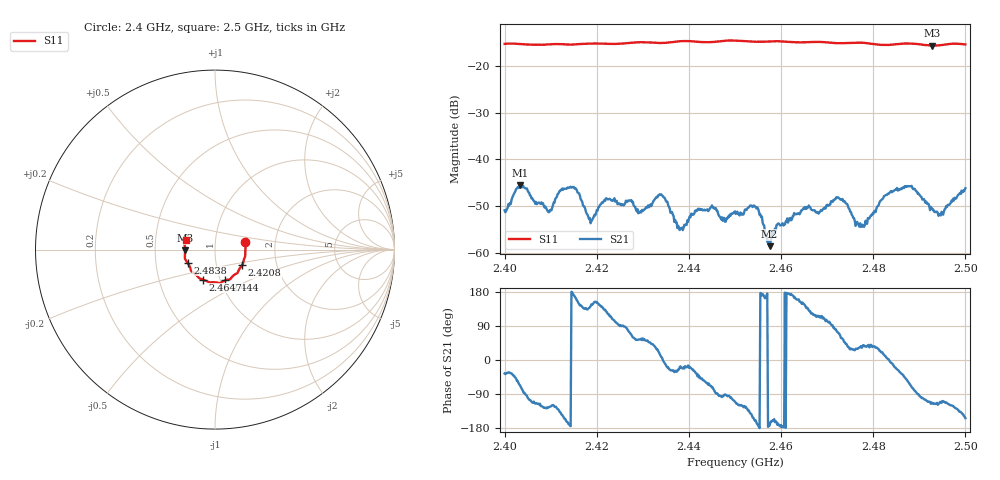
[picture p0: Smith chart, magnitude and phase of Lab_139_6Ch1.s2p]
# Hz S RI R 50
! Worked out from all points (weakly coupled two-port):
!   601 points, 2.4 GHz to 2.5 GHz, reference 50 ohm
!   highest |S21| = -45.47 dB at 2.4033 GHz (marker M1); lowest = -58.6 dB at 2.4575 GHz (marker M2)
!   lowest |S11| = -15.6 dB at 2.4928 GHz (marker M3), VSWR 1.40, Z = 35.8 - j0.364 ohm
!   |S11| at or under -10 dB: start of sweep to end of sweep
!   S12 and S22 are empty: the file has one direction only
!   S11 on the Smith chart (normalised r, x): 2.4 GHz: 1.40, +0.12; 2.4208 GHz: 1.33, -0.24; 2.444 GHz: 1.06, -0.37; 2.4647 GHz: 0.83, -0.29; 2.4838 GHz: 0.73, -0.11; 2.5 GHz: 0.72, +0.08
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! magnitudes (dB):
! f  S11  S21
! 2.4 GHz  -15.2  -50.9
! 2.4033 GHz  -15.3  -45.5
! 2.4097 GHz  -15.3  -51.3
! 2.4127 GHz  -15.3  -46.6
! 2.4167 GHz  -15.3  -48.8
! 2.4187 GHz  -15.2  -53.7
! 2.4208 GHz  -15.2  -49.7
! 2.4333 GHz  -15.0  -47.7
! 2.4383 GHz  -14.7  -54.8
! 2.444 GHz  -14.9  -50.7
! 2.45 GHz  -14.5  -51.1
! 2.4545 GHz  -14.8  -50.3
! 2.4575 GHz  -14.7  -58.6
! 2.4647 GHz  -14.9  -50.8
! 2.4667 GHz  -14.8  -50.9
! 2.4725 GHz  -15.1  -48.3
! 2.4775 GHz  -15.0  -54.5
! 2.4833 GHz  -15.5  -47.4
! 2.4838 GHz  -15.4  -46.8
! 2.488 GHz  -15.2  -45.8
! 2.4928 GHz  -15.6  -50.7
! 2.5 GHz  -15.3  -46.2
